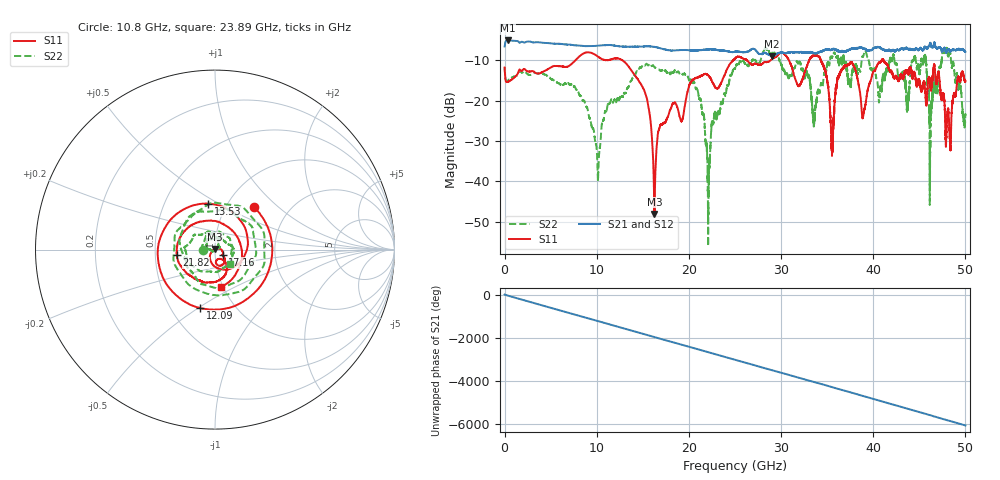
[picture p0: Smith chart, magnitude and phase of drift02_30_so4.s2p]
!Created with skrf (http://scikit-rf.org).
# Hz S RI R 50.0
!freq ReS11 ImS11 ReS21 ImS21 ReS12 ImS12 ReS22 ImS22
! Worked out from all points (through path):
!   10001 points, 300 kHz to 50 GHz, reference 50 ohm
!   highest |S21| = -5.04 dB at 335.3 MHz (marker M1); lowest = -8.9 dB at 28.99 GHz (marker M2)
!   group delay of S21, straight-line fit = 336 ps
!   lowest |S11| = -48.1 dB at 16.25 GHz (marker M3), VSWR 1.01, Z = 49.8 + j0.322 ohm
!   |S11| at or under -10 dB: start of sweep to 7.669 GHz; 12.83 GHz to 24.78 GHz (11.95 GHz wide, 63.6 % of centre); 41.13 GHz to end of sweep (the widest 3 of 15)
!   |S22| runs from -56.0 to -6.7 dB; largest |S21 - S12| = 0.031
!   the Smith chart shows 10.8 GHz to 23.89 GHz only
!   S11 on the Smith chart (normalised r, x): 10.8 GHz: 1.34, +0.71; 12.09 GHz: 0.69, -0.51; 13.53 GHz: 0.82, +0.45; 17.16 GHz: 1.09, -0.06; 21.82 GHz: 0.65, -0.04; 23.89 GHz: 0.98, -0.43
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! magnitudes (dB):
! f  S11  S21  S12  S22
! 300 kHz  -11.8  -6.5  -6.5  -11.7
! 335.3 MHz  -15.3  -5.0  -5.0  -15.1
! 8.335 GHz  -8.6  -6.4  -6.4  -19.1
! 10.11 GHz  -9.0  -6.4  -6.3  -38.4
! 10.8 GHz  -9.9  -6.2  -6.2  -23.8
! 12.09 GHz  -9.5  -6.4  -6.4  -20.3
! 13.53 GHz  -11.7  -6.6  -6.6  -16.0
! 16.25 GHz  -48.1  -6.6  -6.6  -11.7
! 16.67 GHz  -27.7  -6.8  -6.8  -12.2
! 17.16 GHz  -25.7  -7.1  -7.1  -12.6
! 21.82 GHz  -13.3  -7.3  -7.3  -30.5
! 23.89 GHz  -13.5  -7.6  -7.6  -18.5
! 25 GHz  -9.6  -7.8  -7.9  -11.9
! 28.99 GHz  -9.7  -8.9  -8.9  -8.0
! 33.34 GHz  -9.1  -8.0  -8.0  -20.0
! 35.54 GHz  -33.1  -7.3  -7.3  -9.1
! 36.79 GHz  -11.7  -7.9  -8.0  -9.9
! 41.67 GHz  -12.0  -7.4  -7.5  -11.8
! 45.5 GHz  -15.4  -7.0  -6.9  -9.1
! 46.25 GHz  -17.3  -6.1  -6.1  -21.4
! 48.13 GHz  -21.8  -7.2  -7.1  -9.1
! 50 GHz  -15.1  -7.9  -7.9  -23.7
